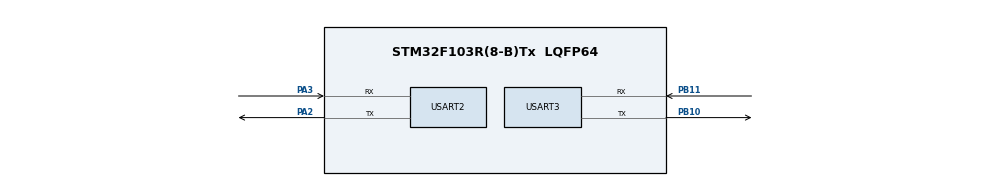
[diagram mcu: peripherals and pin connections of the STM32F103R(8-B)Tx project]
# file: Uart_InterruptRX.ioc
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Mcu.Family=STM32F1
Mcu.Name=STM32F103R(8-B)Tx
Mcu.Package=LQFP64
NVIC.PriorityGroup=NVIC_PRIORITYGROUP_4
NVIC.USART3_IRQn=true\:0\:0\:false\:false\:true\:true\:true\:true
PA13.Mode=Serial_Wire
PA13.Signal=SYS_JTMS-SWDIO
PA14.Mode=Serial_Wire
PA14.Signal=SYS_JTCK-SWCLK
PA2.Mode=Asynchronous
PA2.Signal=USART2_TX
PA3.Mode=Asynchronous
PA3.Signal=USART2_RX
PB10.Mode=Asynchronous
PB10.Signal=USART3_TX
PB11.Mode=Asynchronous
PB11.Signal=USART3_RX
ProjectManager.HeapSize=0x200
ProjectManager.StackSize=0x400
ProjectManager.TargetToolchain=STM32CubeIDE
RCC.APB1Freq_Value=8000000
RCC.APB2Freq_Value=8000000
USART2.VirtualMode=VM_ASYNC
USART3.VirtualMode=VM_ASYNC
board=custom

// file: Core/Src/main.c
/* USER CODE BEGIN Header */
/**
  ******************************************************************************
  * @file           : main.c
  * @brief          : Main program body
  ******************************************************************************
  * @attention
  *
  * Copyright (c) 2022 STMicroelectronics.
  * All rights reserved.
  *
  * This software is licensed under terms that can be found in the LICENSE file
  * in the root directory of this software component.
  * If no LICENSE file comes with this software, it is provided AS-IS.
  *
  ******************************************************************************
  */
/* USER CODE END Header */
#include "main.h"

/* USER CODE BEGIN Includes */
#include <stdio.h>
#include <string.h>
/* USER CODE END Includes */

UART_HandleTypeDef huart2;
UART_HandleTypeDef huart3;

/* USER CODE BEGIN PV */
//unsigned char buf = NULL;
unsigned char str[7];
int count=0;
/* USER CODE END PV */

void SystemClock_Config(void);
static void MX_GPIO_Init(void);
static void MX_USART2_UART_Init(void);
static void MX_USART3_UART_Init(void);
/* USER CODE BEGIN PFP */
#ifdef __GNUC__
#define PUTCHAR_PROTOTYPE int __io_putchar(int ch)
#else
#define PUTCHAR_PROTOTYPE int fputc(int ch, FILE *f)
#endif

PUTCHAR_PROTOTYPE
{
  HAL_UART_Transmit(&huart2, (uint8_t *)&ch, 1, HAL_MAX_DELAY);
  return ch;
}
/* USER CODE END PFP */

/* USER CODE BEGIN 0 */
void HAL_UART_RxCpltCallback(UART_HandleTypeDef *huart)
{
	HAL_UART_Transmit_IT(&huart2,str,strlen(str));
	HAL_UART_Receive_IT(&huart3, str, strlen(str));
}
/* USER CODE END 0 */

/*
  * @brief  The application entry point.
  * @retval int
  */
int main(void)
{

  /* MCU Configuration--------------------------------------------------------*/

  /* Reset of all peripherals, Initializes the Flash interface and the Systick. */
  HAL_Init();

  /* Configure the system clock */
  SystemClock_Config();

  /* Initialize all configured peripherals */
  MX_GPIO_Init();
  MX_USART2_UART_Init();
  MX_USART3_UART_Init();
  /* USER CODE BEGIN 2 */
  HAL_UART_Receive_IT(&huart3,&str,strlen(str));
  /* USER CODE END 2 */

  /* Infinite loop */
  while (1)
  {
	  //HAL_UART_Receive_IT(&huart3,str,strlen(str));
  }
}

void SystemClock_Config(void)
{
  RCC_OscInitTypeDef RCC_OscInitStruct = {0};
  RCC_ClkInitTypeDef RCC_ClkInitStruct = {0};

  /** Initializes the RCC Oscillators according to the specified parameters
  * in the RCC_OscInitTypeDef structure.
  */
  RCC_OscInitStruct.OscillatorType = RCC_OSCILLATORTYPE_HSI;
  RCC_OscInitStruct.HSIState = RCC_HSI_ON;
  RCC_OscInitStruct.HSICalibrationValue = RCC_HSICALIBRATION_DEFAULT;
  RCC_OscInitStruct.PLL.PLLState = RCC_PLL_NONE;
  if (HAL_RCC_OscConfig(&RCC_OscInitStruct) != HAL_OK)
  {
    Error_Handler();
  }

  /** Initializes the CPU, AHB and APB buses clocks
  */
  RCC_ClkInitStruct.ClockType = RCC_CLOCKTYPE_HCLK|RCC_CLOCKTYPE_SYSCLK
                              |RCC_CLOCKTYPE_PCLK1|RCC_CLOCKTYPE_PCLK2;
  RCC_ClkInitStruct.SYSCLKSource = RCC_SYSCLKSOURCE_HSI;
  RCC_ClkInitStruct.AHBCLKDivider = RCC_SYSCLK_DIV1;
  RCC_ClkInitStruct.APB1CLKDivider = RCC_HCLK_DIV1;
  RCC_ClkInitStruct.APB2CLKDivider = RCC_HCLK_DIV1;

  if (HAL_RCC_ClockConfig(&RCC_ClkInitStruct, FLASH_LATENCY_0) != HAL_OK)
  {
    Error_Handler();
  }
}

static void MX_USART2_UART_Init(void)
{

  huart2.Instance = USART2;
  huart2.Init.BaudRate = 115200;
  huart2.Init.WordLength = UART_WORDLENGTH_8B;
  huart2.Init.StopBits = UART_STOPBITS_1;
  huart2.Init.Parity = UART_PARITY_NONE;
  huart2.Init.Mode = UART_MODE_TX_RX;
  huart2.Init.HwFlowCtl = UART_HWCONTROL_NONE;
  huart2.Init.OverSampling = UART_OVERSAMPLING_16;
  if (HAL_UART_Init(&huart2) != HAL_OK)
  {
    Error_Handler();
  }

}

static void MX_USART3_UART_Init(void)
{

  huart3.Instance = USART3;
  huart3.Init.BaudRate = 115200;
  huart3.Init.WordLength = UART_WORDLENGTH_8B;
  huart3.Init.StopBits = UART_STOPBITS_1;
  huart3.Init.Parity = UART_PARITY_NONE;
  huart3.Init.Mode = UART_MODE_TX_RX;
  huart3.Init.HwFlowCtl = UART_HWCONTROL_NONE;
  huart3.Init.OverSampling = UART_OVERSAMPLING_16;
  if (HAL_UART_Init(&huart3) != HAL_OK)
  {
    Error_Handler();
  }

}

static void MX_GPIO_Init(void)
{

  /* GPIO Ports Clock Enable */
  __HAL_RCC_GPIOA_CLK_ENABLE();
  __HAL_RCC_GPIOB_CLK_ENABLE();

}

void Error_Handler(void)
{
  __disable_irq();
  while (1)
  {
  }
}
